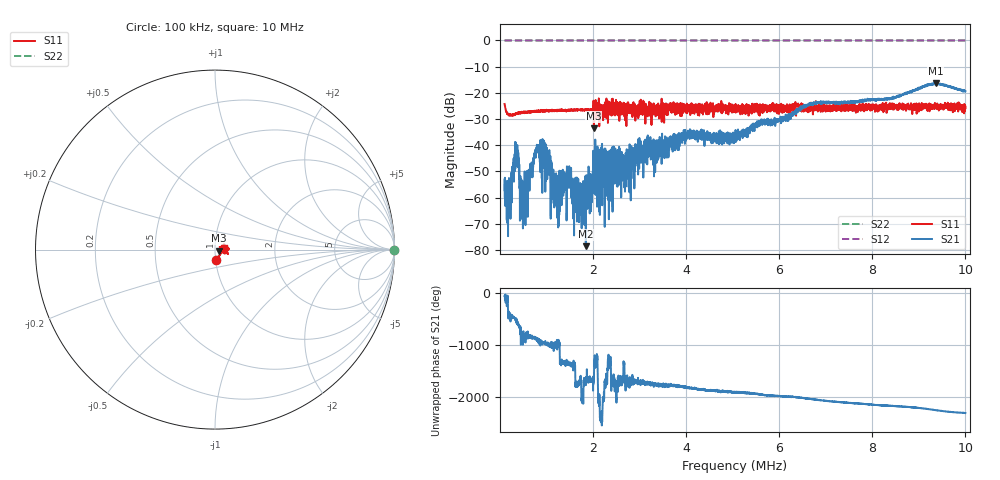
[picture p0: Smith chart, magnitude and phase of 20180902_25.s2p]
! Anritsu VNA Master:  Model: MS2026C/19
! SN:  1815009
! /card0/usr/20180902_25.s2p
! Existing Calibration Information:
! TYPE:  Current Settings,  Active Cal Settings
! TIME:  09/02/2018 06:07:02 PM,  09/02/2018 11:58:48 AM
! INTERNAL TEMP:  46.8 C,  48.8 C
! # POINTS:  4001,  4001
! START FREQ:  100.000 kHz,  100.000 kHz
! STOP FREQ:  10.000 MHz,  10.000 MHz
! SOURCE POWER:  Low,  Low
! IFBW:  500 Hz,  500 Hz
! AVG FACTOR:  1 ,  1
! REF PLANE 1:  0 mm,  0 mm
! REF PLANE 2:  0 mm,  0 mm
! CAL TYPE:  1P2P S11,S21,  1P2P S11,S21
! CAL METHOD:  SOLT,  SOLT
! CAL LINE TYPE:  Coax,  Coax
! DUT PORT 1:  N-Conn(M),  N-Conn(M)
! DUT PORT 2:  N-Conn(M),  N-Conn(M)
! CAL STATUS:  OK: Accuracy High,  --
# GHZ S RI R 50.0
! FREQ.GHZ  S11RE  S11IM  S21RE  S21IM  S12RE  S12IM  S22RE  S22IM
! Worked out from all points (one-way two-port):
!   4001 points, 100 kHz to 10 MHz, reference 50 ohm
!   highest |S21| = -16.29 dB at 9.366 MHz (marker M1); lowest = -78.6 dB at 1.845 MHz (marker M2)
!   lowest |S11| = -33.6 dB at 2.018 MHz (marker M3), VSWR 1.04, Z = 52.1 - j0.577 ohm
!   |S11| at or under -10 dB: start of sweep to end of sweep
!   |S22| runs from 0.0 to 0.0 dB; largest |S21 - S12| = 1.1
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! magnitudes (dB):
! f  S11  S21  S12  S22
! 100 kHz  -24.3  -57.2  0.0  0.0
! 191.6 kHz  -28.6  -57.4  0.0  0.0
! 352.4 kHz  -28.1  -44.1  0.0  0.0
! 466.3 kHz  -27.4  -63.2  0.0  0.0
! 508.4 kHz  -27.5  -67.1  0.0  0.0
! 835.1 kHz  -26.8  -41.1  0.0  0.0
! 1.036 MHz  -26.9  -50.8  0.0  0.0
! 1.216 MHz  -26.7  -55.8  0.0  0.0
! 1.484 MHz  -26.6  -56.3  0.0  0.0
! 1.607 MHz  -26.7  -59.0  0.0  0.0
! 1.751 MHz  -26.3  -60.1  0.0  0.0
! 1.845 MHz  -26.4  -78.6  0.0  0.0
! 2.018 MHz  -33.6  -49.9  0.0  0.0
! 2.721 MHz  -25.3  -51.6  0.0  0.0
! 3.142 MHz  -27.0  -39.3  0.0  0.0
! 3.402 MHz  -25.5  -45.2  0.0  0.0
! 4.075 MHz  -25.3  -37.7  0.0  0.0
! 5.05 MHz  -26.5  -36.1  0.0  0.0
! 6.701 MHz  -25.3  -24.3  0.0  0.0
! 8.352 MHz  -25.0  -22.4  0.0  0.0
! 9.366 MHz  -25.6  -16.3  0.0  0.0
! 10 MHz  -25.9  -19.4  0.0  0.0
